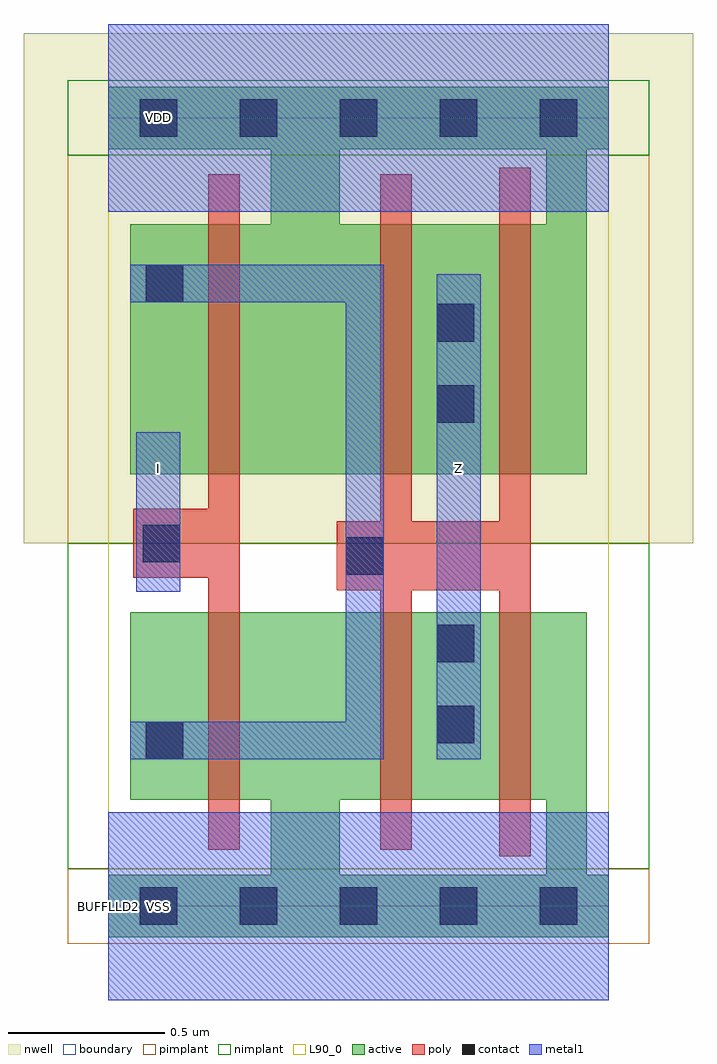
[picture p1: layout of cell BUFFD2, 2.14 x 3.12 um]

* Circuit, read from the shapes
.subckt BUFFD2 I VDD VSS Z
M1 VSS I n1 VSS nfet w=0.6u l=0.1u
M2 Z n1 VSS VSS nfet w=0.6u l=0.1u m=2
M3 VDD I n1 VDD pfet w=0.8u l=0.1u
M4 Z n1 VDD VDD pfet w=0.8u l=0.1u m=2
.ends

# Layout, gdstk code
import gdstk
lib = gdstk.Library(unit=1e-6, precision=1e-09)
def R(c, l, rs):  # rectangles x0, y0, x1, y1
    for r in rs: c.add(gdstk.rectangle(r[:2], r[2:], *l))
def A(c, l, x, y, w, h, nx, ny, dx, dy):  # array of equal rectangles
    R(c, l, [(x+i*dx, y+j*dy, x+i*dx+w, y+j*dy+h) for i in range(nx) for j in range(ny)])
def P(c, l, *ps):  # polygons
    for p in ps: c.add(gdstk.Polygon(p, *l))
nwell = (3, 0)
active = (6, 0)
poly = (17, 0)
pimplant = (25, 0)
nimplant = (26, 0)
contact = (30, 0)
metal1 = (31, 0)
L90_0 = (90, 0)
boundary = (108, 0)

buffd2 = lib.new_cell('BUFFD2')
R(buffd2, nwell, [(-0.27,1.16,1.87,2.79)])
P(buffd2, active, [(0,-0.1),(1.6,-0.1),(1.6,0.1),(1.53,0.1),(1.53,0.94),(1.4,0.94),(1.4,0.1),(0.74,0.1),(0.74,0.34),(1.4,0.34),(1.4,0.94),(0.07,0.94),(0.07,0.34),(0.52,0.34),(0.52,0.1),(0,0.1)],
  [(0,2.42),(0.52,2.42),(0.52,2.18),(0.07,2.18),(0.07,1.38),(1.53,1.38),(1.53,2.42),(1.6,2.42),(1.6,2.62),(1.4,2.62),(1.4,2.18),(0.74,2.18),(0.74,2.42),(1.4,2.42),(1.4,2.62),(0,2.62)])
P(buffd2, poly, [(0.08,1.05),(0.32,1.05),(0.32,0.18),(0.42,0.18),(0.42,2.34),(0.32,2.34),(0.32,1.27),(0.08,1.27)],
  [(0.73,1.01),(0.87,1.01),(0.87,0.18),(0.97,0.18),(0.97,1.01),(1.25,1.01),(1.25,0.16),(1.35,0.16),(1.35,2.36),(1.25,2.36),(1.25,1.23),(0.97,1.23),(0.97,2.34),(0.87,2.34),(0.87,1.23),(0.73,1.23)])
R(buffd2, pimplant, [(-0.13,-0.12,1.73,0.12), (-0.13,1.16,1.73,2.4)])
R(buffd2, nimplant, [(-0.13,0.12,1.73,1.16), (-0.13,2.4,1.73,2.64)])
A(buffd2, contact, 0.1, -0.06, 0.12, 0.12, 5, 2, 0.32, 2.52)
R(buffd2, contact, [(0.12,0.47,0.24,0.59), (1.05,0.52,1.17,0.64), (1.05,0.78,1.17,0.9), (0.76,1.06,0.88,1.18), (0.11,1.1,0.23,1.22), (1.05,1.545,1.17,1.665), (1.05,1.805,1.17,1.925), (0.12,1.93,0.24,2.05)])
R(buffd2, metal1, [(0,-0.3,1.6,0.3), (1.05,0.47,1.19,2.02), (0.09,1.005,0.23,1.515), (0,2.22,1.6,2.82)])
P(buffd2, metal1, [(0.07,0.47),(0.88,0.47),(0.88,2.05),(0.07,2.05),(0.07,1.93),(0.76,1.93),(0.76,0.59),(0.07,0.59)])
R(buffd2, L90_0, [(0,0.12,1.6,2.4)])
R(buffd2, boundary, [(0,0,1.6,2.52)])
buffd2.add(gdstk.Label('Z', (1.12,1.4), layer=131, texttype=0))
buffd2.add(gdstk.Label('I', (0.16,1.4), layer=131, texttype=0))
buffd2.add(gdstk.Label('VSS', (0.16,0), layer=131, texttype=0))
buffd2.add(gdstk.Label('VDD', (0.16,2.52), layer=131, texttype=0))
buffd2.add(gdstk.Label('BUFFLLD2', (0,0), layer=127, texttype=0))

lib.write_gds('BUFFD2.gds')
